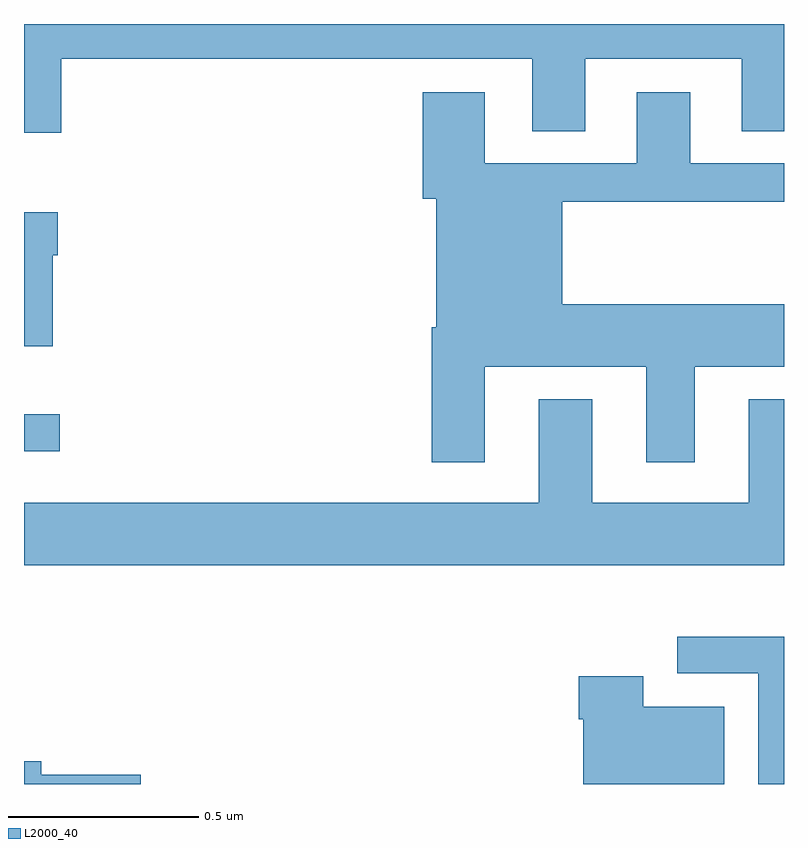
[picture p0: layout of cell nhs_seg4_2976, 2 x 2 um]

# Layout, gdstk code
import gdstk
lib = gdstk.Library(unit=1e-6, precision=1e-09)
def R(c, l, rs):  # rectangles x0, y0, x1, y1
    for r in rs: c.add(gdstk.rectangle(r[:2], r[2:], *l))
def P(c, l, *ps):  # polygons
    for p in ps: c.add(gdstk.Polygon(p, *l))
L2000_40 = (2000, 40)

nhs_seg4_2976 = lib.new_cell('nhs_seg4_2976')
R(nhs_seg4_2976, L2000_40, [(147,807.776,147.094,807.873)])
P(nhs_seg4_2976, L2000_40, [(147.098,808.808),(148.337,808.808),(148.337,808.618),(148.477,808.618),(148.477,808.808),(148.889,808.808),(148.889,808.618),(149,808.618),(149,808.9),(147,808.9),(147,808.614),(147.098,808.614)],
  [(148.213,807.998),(148.637,807.998),(148.637,807.747),(148.765,807.747),(148.765,807.998),(149,807.998),(149,808.162),(148.417,808.162),(148.417,808.432),(149,808.432),(149,808.533),(148.753,808.533),(148.753,808.72),(148.613,808.72),(148.613,808.533),(148.213,808.533),(148.213,808.72),(148.049,808.72),(148.049,808.44),(148.085,808.44),(148.085,808.102),(148.073,808.102),(148.073,807.747),(148.213,807.747)],
  [(147.076,808.292),(147.089,808.292),(147.089,808.405),(147,808.405),(147,808.052),(147.076,808.052)],
  [(149,807.913),(148.907,807.913),(148.907,807.64),(148.495,807.64),(148.495,807.913),(148.355,807.913),(148.355,807.64),(147,807.64),(147,807.476),(149,807.476)],
  [(149,807.288),(148.719,807.288),(148.719,807.192),(148.932,807.192),(148.932,806.9),(149,806.9)],
  [(148.843,807.103),(148.63,807.103),(148.63,807.184),(148.46,807.184),(148.46,807.071),(148.472,807.071),(148.472,806.9),(148.843,806.9)],
  [(147.307,806.924),(147.046,806.924),(147.046,806.96),(147,806.96),(147,806.9),(147.307,806.9)])

lib.write_gds('nhs_seg4_2976.gds')
